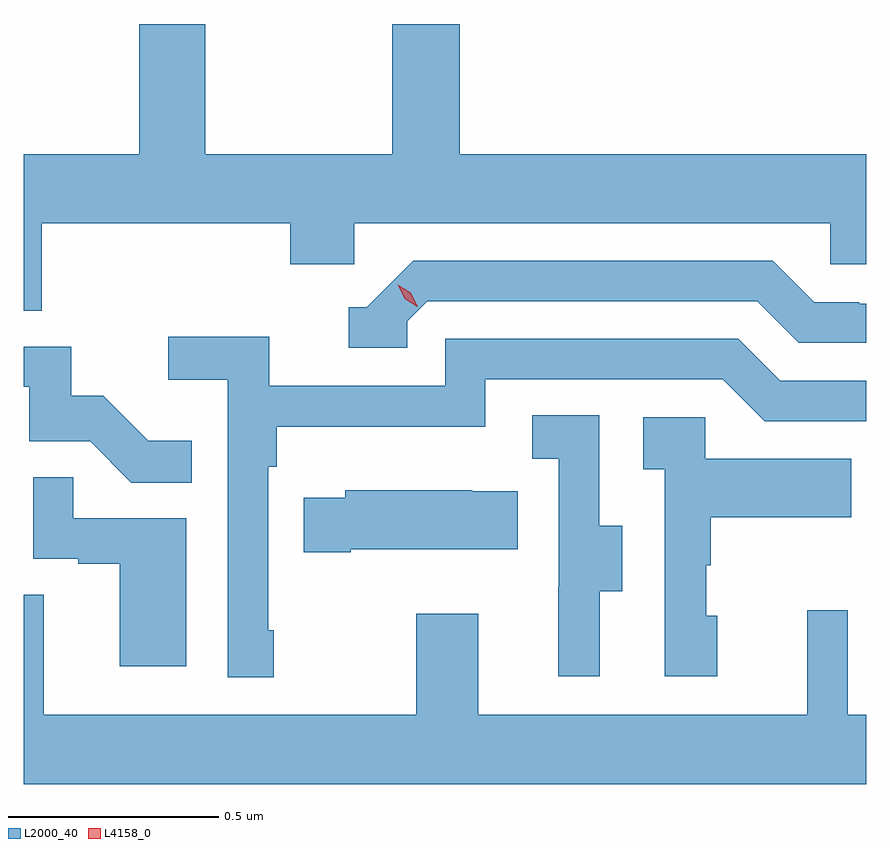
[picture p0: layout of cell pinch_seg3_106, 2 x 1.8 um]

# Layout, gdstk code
import gdstk
lib = gdstk.Library(unit=1e-6, precision=1e-09)
def P(c, l, *ps):  # polygons
    for p in ps: c.add(gdstk.Polygon(p, *l))
L2000_40 = (2000, 40)
L4158_0 = (4158, 0)

pinch_seg3_106 = lib.new_cell('pinch_seg3_106')
P(pinch_seg3_106, L2000_40, [(1040.948,724.892),(1041.539,724.892),(1041.539,724.794),(1041.69,724.794),(1041.69,724.892),(1042.821,724.892),(1042.821,724.794),(1042.906,724.794),(1042.906,725.056),(1041.941,725.056),(1041.941,725.365),(1041.781,725.365),(1041.781,725.056),(1041.336,725.056),(1041.336,725.365),(1041.18,725.365),(1041.18,725.056),(1040.906,725.056),(1040.906,724.684),(1040.948,724.684)],
  [(1041.816,724.659),(1041.864,724.707),(1042.647,724.707),(1042.746,724.608),(1042.906,724.608),(1042.906,724.701),(1042.89,724.701),(1042.89,724.704),(1042.783,724.704),(1042.684,724.803),(1041.831,724.803),(1041.72,724.692),(1041.677,724.692),(1041.677,724.596),(1041.816,724.596)],
  [(1041.499,723.925),(1041.486,723.925),(1041.486,724.313),(1041.506,724.313),(1041.506,724.409),(1042.002,724.409),(1042.002,724.521),(1042.566,724.521),(1042.665,724.422),(1042.906,724.422),(1042.906,724.518),(1042.702,724.518),(1042.603,724.617),(1041.906,724.617),(1041.906,724.506),(1041.488,724.506),(1041.488,724.622),(1041.249,724.622),(1041.249,724.52),(1041.39,724.52),(1041.39,723.813),(1041.499,723.813)],
  [(1041.305,724.375),(1041.201,724.375),(1041.094,724.482),(1041.018,724.482),(1041.018,724.599),(1040.906,724.599),(1040.906,724.503),(1040.919,724.503),(1040.919,724.374),(1041.063,724.374),(1041.161,724.276),(1041.305,724.276)],
  [(1042.273,724.018),(1042.327,724.018),(1042.327,724.173),(1042.272,724.173),(1042.272,724.436),(1042.113,724.436),(1042.113,724.333),(1042.176,724.333),(1042.176,724.029),(1042.175,724.029),(1042.175,723.816),(1042.273,723.816)],
  [(1042.552,723.96),(1042.527,723.96),(1042.527,724.079),(1042.537,724.079),(1042.537,724.193),(1042.871,724.193),(1042.871,724.333),(1042.524,724.333),(1042.524,724.431),(1042.377,724.431),(1042.377,724.307),(1042.428,724.307),(1042.428,723.816),(1042.552,723.816)],
  [(1041.292,724.191),(1041.023,724.191),(1041.023,724.289),(1040.928,724.289),(1040.928,724.095),(1041.035,724.095),(1041.035,724.083),(1041.134,724.083),(1041.134,723.84),(1041.292,723.84)],
  [(1041.682,724.118),(1042.079,724.118),(1042.079,724.255),(1041.971,724.255),(1041.971,724.258),(1041.669,724.258),(1041.669,724.24),(1041.571,724.24),(1041.571,724.111),(1041.682,724.111)],
  [(1042.906,723.724),(1042.863,723.724),(1042.863,723.973),(1042.766,723.973),(1042.766,723.724),(1041.985,723.724),(1041.985,723.964),(1041.838,723.964),(1041.838,723.724),(1040.953,723.724),(1040.953,724.01),(1040.906,724.01),(1040.906,723.56),(1042.906,723.56)])
P(pinch_seg3_106, L4158_0, [(1041.84,724.694),(1041.81,724.713),(1041.794,724.746),(1041.794,724.746),(1041.794,724.746),(1041.825,724.727),(1041.841,724.694),(1041.841,724.694)])

lib.write_gds('pinch_seg3_106.gds')
